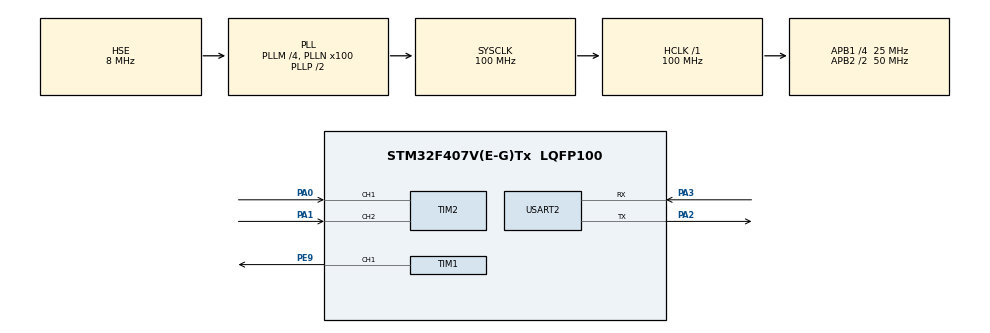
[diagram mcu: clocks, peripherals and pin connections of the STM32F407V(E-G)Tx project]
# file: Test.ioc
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Mcu.Family=STM32F4
Mcu.Name=STM32F407V(E-G)Tx
Mcu.Package=LQFP100
NVIC.PriorityGroup=NVIC_PRIORITYGROUP_4
NVIC.TIM5_IRQn=true\:0\:0\:false\:false\:true\:true\:true\:true
NVIC.USART2_IRQn=true\:1\:0\:true\:false\:true\:true\:true\:true
PA0-WKUP.Signal=S_TIM2_CH1_ETR
PA1.Signal=S_TIM2_CH2
PA13.Mode=Serial_Wire
PA13.Signal=SYS_JTMS-SWDIO
PA14.Mode=Serial_Wire
PA14.Signal=SYS_JTCK-SWCLK
PA2.Mode=Asynchronous
PA2.Signal=USART2_TX
PA3.Mode=Asynchronous
PA3.Signal=USART2_RX
PE9.Signal=S_TIM1_CH1
PH0-OSC_IN.Mode=HSE-External-Oscillator
PH0-OSC_IN.Signal=RCC_OSC_IN
PH1-OSC_OUT.Mode=HSE-External-Oscillator
PH1-OSC_OUT.Signal=RCC_OSC_OUT
ProjectManager.HeapSize=0x200
ProjectManager.StackSize=0x400
ProjectManager.TargetToolchain=MDK-ARM V5
RCC.48MHZClocksFreq_Value=50000000
RCC.AHBFreq_Value=100000000
RCC.APB1CLKDivider=RCC_HCLK_DIV4
RCC.APB1Freq_Value=25000000
RCC.APB1TimFreq_Value=50000000
RCC.APB2CLKDivider=RCC_HCLK_DIV2
RCC.APB2Freq_Value=50000000
RCC.APB2TimFreq_Value=100000000
RCC.CortexFreq_Value=100000000
RCC.HCLKFreq_Value=100000000
RCC.HSE_VALUE=8000000
RCC.HSI_VALUE=16000000
RCC.LSE_VALUE=32768
RCC.PLLM=4
RCC.PLLN=100
RCC.PLLSourceVirtual=RCC_PLLSOURCE_HSE
RCC.SYSCLKFreq_VALUE=100000000
RCC.SYSCLKSource=RCC_SYSCLKSOURCE_PLLCLK
RCC.VCOOutputFreq_Value=200000000
SH.S_TIM1_CH1.0=TIM1_CH1,PWM Generation1 CH1
SH.S_TIM2_CH1_ETR.0=TIM2_CH1,Encoder_Interface
SH.S_TIM2_CH2.0=TIM2_CH2,Encoder_Interface
TIM1.Channel-PWM\ Generation1\ CH1=TIM_CHANNEL_1
TIM1.Period=1000-1
TIM1.Prescaler=2000-1
TIM2.EncoderMode=TIM_ENCODERMODE_TI12
TIM5.Period=99
TIM5.Prescaler=9999
USART2.VirtualMode=VM_ASYNC
VP_TIM1_VS_ClockSourceINT.Mode=Internal
VP_TIM5_VS_ClockSourceINT.Mode=Internal
board=custom

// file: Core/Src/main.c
/* USER CODE BEGIN Header */
/**
  ******************************************************************************
  * @file           : main.c
  * @brief          : Main program body
  ******************************************************************************
  * @attention
  *
  * Copyright (c) 2024 STMicroelectronics.
  * All rights reserved.
  *
  * This software is licensed under terms that can be found in the LICENSE file
  * in the root directory of this software component.
  * If no LICENSE file comes with this software, it is provided AS-IS.
  *
  ******************************************************************************
  */
/* USER CODE END Header */
#include "main.h"
#include "tim.h"
#include "usart.h"
#include "gpio.h"

/* USER CODE BEGIN Includes */
#include "stdio.h"
#include "stdlib.h"
#include "string.h"
#include "stdbool.h"
#include "math.h"

/* USER CODE END Includes */

void SystemClock_Config(void);
/* USER CODE BEGIN PFP */
int BUFF_SIZE = 14;
int Pulse;

/* Tính toán timer
Fs = (APB1 Timer Clocks) / (PSC + 1) = ... (KHz)
Ts = (1/Fs) * (Counter Period + 1) = ... (ms)
*/

int16_t counter = 0;
int16_t pre_counter = 0;

uint8_t STX[] = {0x02};
uint8_t ETX[] = {0x03};
uint8_t ACK[] = {0x06};

uint8_t PULSE[] = {0x50, 0x55, 0x4C, 0x53, 0x45};

uint8_t PICK[] = {0x00, 0x00, 0x00, 0x04};
uint8_t PLACE[] = {0x00, 0x00, 0x00, 0x05};

uint8_t RxData[14];
uint8_t TxData[14];
uint8_t Index = 0;
uint8_t Data;

uint8_t subData[8];
uint8_t strCommand[5];
uint8_t strOpt[4];
uint8_t strData[2];

bool flag_DataAvailable;
/* USER CODE END PFP */

/* USER CODE BEGIN 0 */
uint8_t *subString(uint8_t *s, int pos, int index)
{
	memset(subData,0,sizeof(subData));
	int j = pos;
	int k = pos + index;
	for (int i = pos; i < k; i++)
	{
		subData[i-j] = s[i];
	}
	return subData;
}

bool ReadComm(uint8_t *pBuff, uint8_t nSize)
{
	if ((pBuff[0] == STX[0]) && (pBuff[13] == ETX[0]))
	{
		memcpy(strCommand, subString(pBuff, 1, 5), 5);
		memcpy(strOpt, subString(pBuff, 6, 4), 4);
		memcpy(strData, subString(pBuff, 10, 2), 2);

		flag_DataAvailable = true;
	}
	else
	{
		flag_DataAvailable = false;
	}
	return flag_DataAvailable;
}

bool WriteComm(uint8_t *pBuff, uint8_t nSize)
{
	return HAL_UART_Transmit(&huart2, pBuff, nSize, 1000);
}
void Datasend(void)
{
	Index = 0;
	memcpy(TxData + Index, STX, 1);
	Index +=1;
	memcpy(TxData + Index, (uint8_t *)strCommand, 5);
	Index +=5;
	memcpy(TxData + Index, (uint8_t *)strOpt, 4);
	Index +=4;
	memcpy(TxData + Index, (uint8_t *)strData, 2);
	Index +=2;
	memcpy(TxData + Index, ACK, 1);
	Index +=1;
	memcpy(TxData + Index, ETX, 1);

	WriteComm(TxData, BUFF_SIZE);
}
void Encoder(void)
{
	counter = htim2.Instance->CNT - pre_counter;
	pre_counter = htim2.Instance->CNT;
}
void HAL_TIM_PeriodElapsedCallback(TIM_HandleTypeDef *htim)
{
	if(htim->Instance == htim5.Instance)
		Encoder();
}
void HAL_UART_RxCpltCallback(UART_HandleTypeDef *huart)
{
	if(huart->Instance == huart2.Instance)
	{
		ReadComm(RxData, BUFF_SIZE);
		HAL_UART_Receive_IT(&huart2, (uint8_t *)RxData, BUFF_SIZE);
	}
}

/* USER CODE END 0 */

int main(void)
{

  /* MCU Configuration--------------------------------------------------------*/

  /* Reset of all peripherals, Initializes the Flash interface and the Systick. */
  HAL_Init();

  /* Configure the system clock */
  SystemClock_Config();

  /* Initialize all configured peripherals */
  MX_GPIO_Init();
  MX_USART2_UART_Init();
  MX_TIM1_Init();
  MX_TIM2_Init();
  MX_TIM5_Init();
  /* USER CODE BEGIN 2 */
	HAL_UART_Receive_IT(&huart2, (uint8_t *)RxData, BUFF_SIZE);
	HAL_TIM_PWM_Start(&htim1, TIM_CHANNEL_1);
	HAL_TIM_Encoder_Start(&htim2, TIM_CHANNEL_ALL);
	HAL_TIM_Base_Start_IT(&htim5);
  /* USER CODE END 2 */

  /* Infinite loop */
  /* USER CODE BEGIN WHILE */
  while (1)
  {
		if (flag_DataAvailable == true)
		{
			Pulse = atoi((char *)strData);

			//Duty (%) = (CCR / ARR) * 100 (ARR = const = 1000)
			//htim1.Instance->CCR1 = Pulse;
			htim1.Instance->CCR1 = Pulse;
			Datasend();
			flag_DataAvailable = false;
		}

    /* USER CODE END WHILE */

  }
}

void SystemClock_Config(void)
{
  RCC_OscInitTypeDef RCC_OscInitStruct = {0};
  RCC_ClkInitTypeDef RCC_ClkInitStruct = {0};

  /** Configure the main internal regulator output voltage
  */
  __HAL_RCC_PWR_CLK_ENABLE();
  __HAL_PWR_VOLTAGESCALING_CONFIG(PWR_REGULATOR_VOLTAGE_SCALE1);

  /** Initializes the RCC Oscillators according to the specified parameters
  * in the RCC_OscInitTypeDef structure.
  */
  RCC_OscInitStruct.OscillatorType = RCC_OSCILLATORTYPE_HSE;
  RCC_OscInitStruct.HSEState = RCC_HSE_ON;
  RCC_OscInitStruct.PLL.PLLState = RCC_PLL_ON;
  RCC_OscInitStruct.PLL.PLLSource = RCC_PLLSOURCE_HSE;
  RCC_OscInitStruct.PLL.PLLM = 4;
  RCC_OscInitStruct.PLL.PLLN = 100;
  RCC_OscInitStruct.PLL.PLLP = RCC_PLLP_DIV2;
  RCC_OscInitStruct.PLL.PLLQ = 4;
  if (HAL_RCC_OscConfig(&RCC_OscInitStruct) != HAL_OK)
  {
    Error_Handler();
  }

  /** Initializes the CPU, AHB and APB buses clocks
  */
  RCC_ClkInitStruct.ClockType = RCC_CLOCKTYPE_HCLK|RCC_CLOCKTYPE_SYSCLK
                              |RCC_CLOCKTYPE_PCLK1|RCC_CLOCKTYPE_PCLK2;
  RCC_ClkInitStruct.SYSCLKSource = RCC_SYSCLKSOURCE_PLLCLK;
  RCC_ClkInitStruct.AHBCLKDivider = RCC_SYSCLK_DIV1;
  RCC_ClkInitStruct.APB1CLKDivider = RCC_HCLK_DIV4;
  RCC_ClkInitStruct.APB2CLKDivider = RCC_HCLK_DIV2;

  if (HAL_RCC_ClockConfig(&RCC_ClkInitStruct, FLASH_LATENCY_3) != HAL_OK)
  {
    Error_Handler();
  }
}

void Error_Handler(void)
{
  __disable_irq();
  while (1)
  {
  }
}
